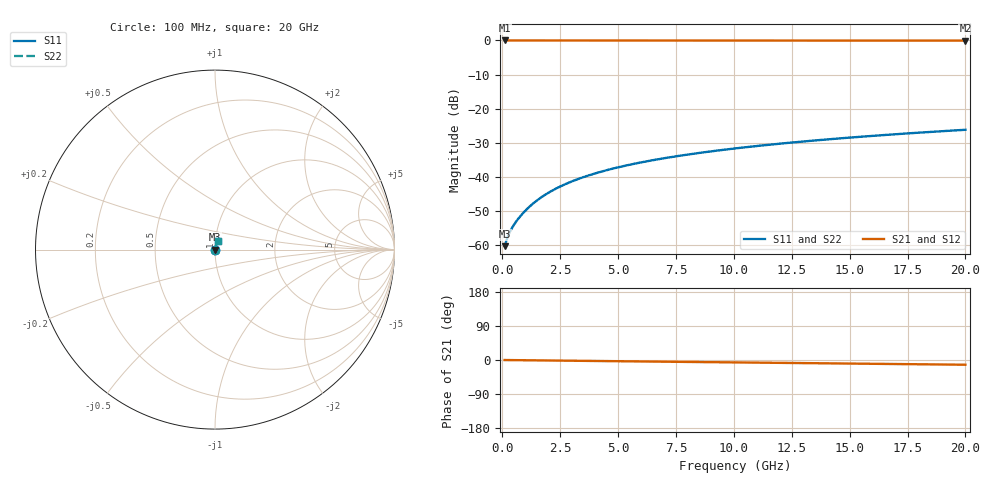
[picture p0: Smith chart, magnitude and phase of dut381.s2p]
! Touchstone file exported from HFSS 2026.1.0
!  File:  C:/ffzhzh/LocalFiles/Ansys_Project_Files/temp_train_BSMRDL_381_1783011973_46388.aedt
!  Generated:  01:07:33 AM Jul  3, 2026
!  Design:  BSMRDL
!  Project:  temp_train_BSMRDL_381_1783011973_46388
! Variables:
!  h_bsmrdl = 4.08um
!  h_ox = 20um
!  h_rdl = 5um
!  h_sub = 80um
!  h_tmrdl = 5um
!  h_tsv = 80um
!  h_via = 3um
!  l_bsmrdl = 198.18um
!  l_sub = 598.18um
!  l_tmrdl = 200um
!  m_sub = 200um
!  pitch = 35.03um
!  r_tsv = 6um
!  s_tmrdl = 10um
!  w_bsmrdl = 26.51um
!  w_sub = 500um
!  w_tmrdl = 12um
!  x_tsv_center1 = 206um
!  x_tsv_center2 = 430.69um
!  x_tsv_center3 = 642.69um
!  x_tsv_center4 = 867.38um
!  x_tsv_center5 = 1079.38um
!  x_tsv_center6 = 1304.07um
# GHz S MA R 50.000000
! Terminal data exported
! Port[1] = BSM_RDL1_1_T1
! Port[2] = BSM_RDL1_1_T2
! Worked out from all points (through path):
!   200 points, 100 MHz to 20 GHz, reference 50 ohm
!   highest |S21| = -0.01 dB at 100 MHz (marker M1); lowest = -0.1 dB at 20 GHz (marker M2)
!   group delay of S21, straight-line fit = 1.73 ps
!   lowest |S11| = -60.2 dB at 100 MHz (marker M3), VSWR 1.00, Z = 50.1 + j0.0421 ohm
!   |S11| at or under -10 dB: start of sweep to end of sweep
!   |S22| runs from -60.2 to -26.1 dB; largest |S21 - S12| = 9e-15
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0.1  0.0009776 25.5  0.9991 -0.1  0.9991 -0.1  0.0009776 25.5
! Gamma 0 0 0 0
! Port Impedance 50 0 50 0
0.2  0.001249 38.3  0.999 -0.1  0.999 -0.1  0.001249 38.3
0.3  0.001515 45.1  0.9989 -0.2  0.9989 -0.2  0.001515 45.1
0.4  0.001762 49.9  0.9989 -0.3  0.9989 -0.3  0.001762 49.9
0.5  0.002002 53.8  0.9988 -0.3  0.9988 -0.3  0.002002 53.8
0.8  0.002735 62.2  0.9987 -0.5  0.9987 -0.5  0.002735 62.2
1  0.003246 65.9  0.9987 -0.7  0.9987 -0.7  0.003246 65.9
1.2  0.00377 68.6  0.9987 -0.8  0.9987 -0.8  0.00377 68.6
1.4  0.004304 70.7  0.9986 -0.9  0.9986 -0.9  0.004304 70.7
1.7  0.005115 72.8  0.9986 -1.1  0.9986 -1.1  0.005115 72.8
2.2  0.006477 75.0  0.9985 -1.4  0.9985 -1.4  0.006477 75.0
2.8  0.008107 76.4  0.9983 -1.8  0.9983 -1.8  0.008107 76.4
3.5  0.009988 77.1  0.9981 -2.3  0.9981 -2.3  0.009988 77.1
4.2  0.01184 77.3  0.9979 -2.7  0.9979 -2.7  0.01184 77.3
5  0.01391 77.3  0.9976 -3.2  0.9976 -3.2  0.01391 77.3
5.9  0.0162 77.2  0.9973 -3.8  0.9973 -3.8  0.0162 77.2
6.8  0.01844 76.9  0.997 -4.3  0.997 -4.3  0.01844 76.9
8.3  0.02211 76.5  0.9966 -5.3  0.9966 -5.3  0.02211 76.5
10.1  0.02642 75.8  0.9961 -6.4  0.9961 -6.4  0.02642 75.8
13.4  0.03418 74.5  0.9952 -8.4  0.9952 -8.4  0.03418 74.5
16.7  0.0418 73.0  0.9944 -10.5  0.9944 -10.5  0.0418 73.0
20  0.0493 71.4  0.9936 -12.5  0.9936 -12.5  0.0493 71.4
